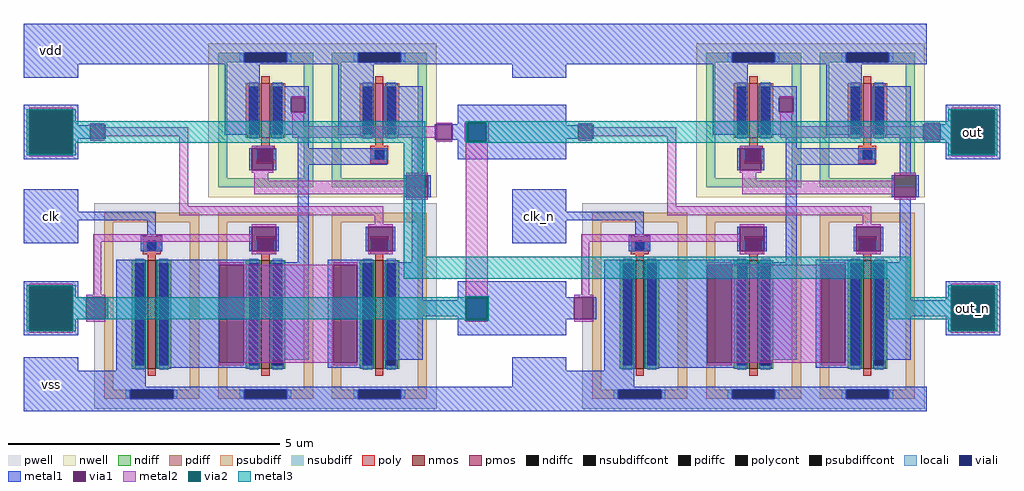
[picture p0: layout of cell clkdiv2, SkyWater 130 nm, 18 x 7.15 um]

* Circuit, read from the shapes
.subckt clkdiv2 vdd vss out out_n clk_n clk
XM1 n1 clk vss vss sky130_fd_pr__nfet_01v8 w=2 l=0.15
XM2 x3/d out n1 vss sky130_fd_pr__nfet_01v8 w=2 l=0.15
XM3 x3/d_n out_n n1 vss sky130_fd_pr__nfet_01v8 w=2 l=0.15
XM4 n2 clk_n vss vss sky130_fd_pr__nfet_01v8 w=2 l=0.15
XM5 out x3/d_n n2 vss sky130_fd_pr__nfet_01v8 w=2 l=0.15
XM6 out_n x3/d n2 vss sky130_fd_pr__nfet_01v8 w=2 l=0.15
XM7 x3/d x3/d_n vdd vdd sky130_fd_pr__pfet_01v8 w=1 l=0.15
XM8 x3/d_n x3/d vdd vdd sky130_fd_pr__pfet_01v8 w=1 l=0.15
XM9 out out_n vdd vdd sky130_fd_pr__pfet_01v8 w=1 l=0.15
XM10 out_n out vdd vdd sky130_fd_pr__pfet_01v8 w=1 l=0.15
.ends

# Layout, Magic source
magic
tech sky130A
magscale 1 2
<< metal1 >>
rect 0 -770 200 -570
rect 1530 -720 1870 -570
rect 3400 -890 3600 -870
rect 10 -1050 20 -890
rect 180 -1050 190 -890
rect 3400 -1050 3420 -890
rect 3580 -1050 3600 -890
rect 3400 -1070 3600 -1050
rect 0 -1380 200 -1180
rect 1800 -1380 2000 -1180
rect 3400 -1540 3600 -1520
rect 10 -1700 20 -1540
rect 180 -1700 190 -1540
rect 3400 -1700 3420 -1540
rect 3580 -1700 3600 -1540
rect 3400 -1720 3600 -1700
rect 0 -2000 200 -1800
rect 1520 -2000 1860 -1910
<< via1 >>
rect 20 -1050 180 -890
rect 3420 -1050 3580 -890
rect 20 -1700 180 -1540
rect 3420 -1700 3580 -1540
<< metal2 >>
rect 20 -890 180 -880
rect 3420 -890 3580 -880
rect 1630 -935 1710 -930
rect 1626 -1005 1635 -935
rect 1705 -1005 1714 -935
rect 20 -1060 180 -1050
rect 20 -1540 180 -1530
rect 1630 -1580 1710 -1005
rect 3420 -1060 3580 -1050
rect 1630 -1669 1710 -1660
rect 3420 -1540 3580 -1530
rect 20 -1710 180 -1700
rect 3420 -1710 3580 -1700
<< via2 >>
rect 20 -1050 180 -890
rect 1635 -1005 1705 -935
rect 20 -1700 180 -1540
rect 3420 -1050 3580 -890
rect 1630 -1660 1710 -1580
rect 3420 -1700 3580 -1540
<< metal3 >>
rect 10 -890 190 -885
rect 10 -1050 20 -890
rect 180 -930 190 -890
rect 3410 -890 3590 -885
rect 3410 -930 3420 -890
rect 180 -1010 1480 -930
rect 1630 -935 3420 -930
rect 1630 -1005 1635 -935
rect 1705 -1005 3420 -935
rect 1630 -1010 3420 -1005
rect 180 -1050 190 -1010
rect 10 -1055 190 -1050
rect 1400 -1430 1480 -1010
rect 3410 -1050 3420 -1010
rect 3580 -1050 3590 -890
rect 3410 -1055 3590 -1050
rect 1400 -1510 3270 -1430
rect 10 -1540 190 -1535
rect 10 -1700 20 -1540
rect 180 -1580 190 -1540
rect 1625 -1580 1715 -1575
rect 180 -1660 1630 -1580
rect 1710 -1660 1715 -1580
rect 3190 -1580 3270 -1510
rect 3410 -1540 3590 -1535
rect 3410 -1580 3420 -1540
rect 3190 -1660 3420 -1580
rect 180 -1700 190 -1660
rect 1625 -1665 1715 -1660
rect 10 -1705 190 -1700
rect 3410 -1700 3420 -1660
rect 3580 -1700 3590 -1540
rect 3410 -1705 3590 -1700
use latch  x2
transform 1 0 -1040 0 1 650
box 1040 -2650 2840 -1220
use latch  x3
transform 1 0 760 0 1 650
box 1040 -2650 2840 -1220
<< labels >>
flabel metal1 3400 -1070 3600 -870 0 FreeSans 256 0 0 0 out
port 2 nsew
flabel metal1 3400 -1720 3600 -1520 0 FreeSans 256 0 0 0 out_n
port 3 nsew
flabel metal1 0 -1380 200 -1180 0 FreeSans 256 0 0 0 clk
port 5 nsew
flabel metal1 0 -770 200 -570 0 FreeSans 256 0 0 0 vdd
port 0 nsew
flabel metal1 1800 -1380 2000 -1180 0 FreeSans 256 0 0 0 clk_n
port 4 nsew
flabel metal1 0 -2000 200 -1800 0 FreeSans 256 0 0 0 vss
port 1 nsew
<< end >>

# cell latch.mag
magic
tech sky130A
magscale 1 2
<< pwell >>
rect 1330 -2580 1490 -2090
<< viali >>
rect 1852 -1362 2010 -1328
rect 2272 -1362 2430 -1328
rect 1432 -2604 1590 -2570
rect 1852 -2604 2010 -2570
rect 2272 -2604 2430 -2570
<< metal1 >>
rect 1040 -1328 2570 -1220
rect 1040 -1362 1852 -1328
rect 2010 -1362 2272 -1328
rect 2430 -1362 2570 -1328
rect 1040 -1370 2570 -1362
rect 1040 -1420 1240 -1370
rect 1040 -1594 1240 -1520
rect 1278 -1594 1284 -1593
rect 1040 -1645 1284 -1594
rect 1336 -1645 1342 -1593
rect 1780 -1630 1910 -1370
rect 1950 -1494 2090 -1450
rect 1950 -1546 2025 -1494
rect 2077 -1546 2090 -1494
rect 1950 -1630 2090 -1546
rect 2200 -1630 2330 -1370
rect 2370 -1630 2510 -1450
rect 2640 -1591 2840 -1520
rect 1040 -1720 1240 -1645
rect 2050 -1680 2090 -1630
rect 1870 -1760 1880 -1680
rect 1960 -1760 1970 -1680
rect 2050 -1740 2380 -1680
rect 1040 -1914 1240 -1830
rect 1040 -1946 1526 -1914
rect 1040 -2030 1240 -1946
rect 1494 -2000 1526 -1946
rect 1470 -2060 1550 -2000
rect 1870 -2060 1880 -1970
rect 1970 -2060 1980 -1970
rect 1040 -2230 1240 -2170
rect 1040 -2310 1270 -2230
rect 1340 -2310 1350 -2230
rect 1040 -2370 1240 -2310
rect 1040 -2500 1240 -2450
rect 1380 -2500 1490 -2090
rect 1530 -2110 1910 -2090
rect 2050 -2100 2090 -1740
rect 2470 -1780 2510 -1630
rect 2555 -1649 2561 -1591
rect 2619 -1649 2840 -1591
rect 2640 -1720 2840 -1649
rect 2440 -1860 2450 -1780
rect 2530 -1860 2540 -1780
rect 2300 -2060 2310 -1970
rect 2400 -2060 2410 -1970
rect 1530 -2470 1760 -2110
rect 1850 -2470 1910 -2110
rect 1950 -2460 2090 -2100
rect 2160 -2110 2330 -2090
rect 2470 -2100 2510 -1860
rect 1530 -2490 1910 -2470
rect 2160 -2470 2180 -2110
rect 2270 -2470 2330 -2110
rect 2370 -2241 2510 -2100
rect 2640 -2241 2840 -2170
rect 2370 -2299 2840 -2241
rect 2370 -2460 2510 -2299
rect 2640 -2370 2840 -2299
rect 2160 -2490 2330 -2470
rect 1040 -2560 1490 -2500
rect 1040 -2570 2570 -2560
rect 1040 -2604 1432 -2570
rect 1590 -2604 1852 -2570
rect 2010 -2604 2272 -2570
rect 2430 -2604 2570 -2570
rect 1040 -2650 2570 -2604
<< via1 >>
rect 1284 -1645 1336 -1593
rect 2025 -1546 2077 -1494
rect 1880 -1760 1960 -1680
rect 1880 -2060 1970 -1970
rect 1270 -2310 1340 -2230
rect 2561 -1649 2619 -1591
rect 2450 -1860 2530 -1780
rect 2310 -2060 2400 -1970
rect 1760 -2470 1850 -2110
rect 2180 -2470 2270 -2110
<< metal2 >>
rect 2025 -1494 2077 -1488
rect 2025 -1552 2077 -1546
rect 1284 -1593 1336 -1587
rect 2029 -1598 2072 -1552
rect 2561 -1591 2619 -1585
rect 1336 -1635 1646 -1602
rect 1284 -1651 1336 -1645
rect 1613 -1893 1646 -1635
rect 2029 -1641 2561 -1598
rect 2561 -1655 2619 -1649
rect 1880 -1680 1960 -1670
rect 1880 -1770 1960 -1760
rect 1890 -1800 1940 -1770
rect 2450 -1780 2530 -1770
rect 1890 -1850 2450 -1800
rect 2450 -1870 2530 -1860
rect 1613 -1926 2366 -1893
rect 2333 -1960 2366 -1926
rect 1880 -1970 1970 -1960
rect 1296 -2025 1880 -1996
rect 1296 -2220 1325 -2025
rect 1880 -2070 1970 -2060
rect 2310 -1970 2400 -1960
rect 2310 -2070 2400 -2060
rect 1760 -2110 1850 -2100
rect 2180 -2110 2270 -2100
rect 1270 -2230 1340 -2220
rect 1270 -2320 1340 -2310
rect 1850 -2470 2180 -2110
rect 1760 -2480 1850 -2470
rect 2180 -2480 2270 -2470
use sky130_fd_pr__nfet_01v8_26NUYT  sky130_fd_pr__nfet_01v8_26NUYT_0
transform 1 0 2351 0 1 -2261
box -211 -379 211 379
use sky130_fd_pr__pfet_01v8_7PK3FC  sky130_fd_pr__pfet_01v8_7PK3FC_0
transform 1 0 2351 0 1 -1576
box -211 -284 211 284
use sky130_fd_pr__nfet_01v8_26NUYT  XM1
transform 1 0 1931 0 1 -2261
box -211 -379 211 379
use sky130_fd_pr__nfet_01v8_26NUYT  XM4
transform 1 0 1511 0 1 -2261
box -211 -379 211 379
use sky130_fd_pr__pfet_01v8_7PK3FC  XM11
transform 1 0 1931 0 1 -1576
box -211 -284 211 284
<< labels >>
flabel metal1 1040 -2370 1240 -2170 0 FreeSans 256 0 0 0 d_n
port 5 nsew
flabel metal1 1040 -1720 1240 -1520 0 FreeSans 256 0 0 0 d
port 4 nsew
flabel metal1 1040 -2030 1240 -1830 0 FreeSans 256 0 0 0 clk
port 6 nsew
flabel metal1 1040 -2650 1240 -2450 0 FreeSans 256 0 0 0 vss
port 1 nsew
flabel metal1 1040 -1420 1240 -1220 0 FreeSans 256 0 0 0 vdd
port 0 nsew
flabel metal1 2640 -1720 2840 -1520 0 FreeSans 256 0 0 0 q
port 3 nsew
flabel metal1 2640 -2370 2840 -2170 0 FreeSans 256 0 0 0 q_n
port 2 nsew
<< end >>

# cell sky130_fd_pr__nfet_01v8_26NUYT: kit device sky130_fd_pr__nfet_01v8, w 2.0 l 0.15 m 1 nf 1 diffcov 100 polycov 100 guard 1 glc 0 grc 0 gtc 0 gbc 1 tbcov 100 rlcov 100 topc 1 botc 0 poverlap 0 doverlap 1 lmin 0.15 wmin 0.42 compatible {sky130_fd_pr__nfet_01v8 sky130_fd_pr__nfet_01v8_lvt sky130_fd_bs_flash__special_sonosfet_star sky130_fd_pr__nfet_g5v0d10v5 sky130_fd_pr__nfet_05v0_nvt sky130_fd_pr__nfet_03v3_nvt} full_metal 0 viasrc 100 viadrn 100 viagate 100 viagb 0 viagr 0 viagl 0 viagt 0

# cell sky130_fd_pr__pfet_01v8_7PK3FC: kit device sky130_fd_pr__pfet_01v8, w 1.0 l 0.15 m 1 nf 1 diffcov 100 polycov 100 guard 1 glc 0 grc 0 gtc 1 gbc 0 tbcov 100 rlcov 100 topc 0 botc 1 poverlap 0 doverlap 1 lmin 0.15 wmin 0.42 compatible {sky130_fd_pr__pfet_01v8 sky130_fd_pr__pfet_01v8_lvt sky130_fd_pr__pfet_01v8_hvt sky130_fd_pr__pfet_g5v0d10v5} full_metal 0 viasrc 100 viadrn 100 viagate 100 viagb 0 viagr 0 viagl 0 viagt 0
